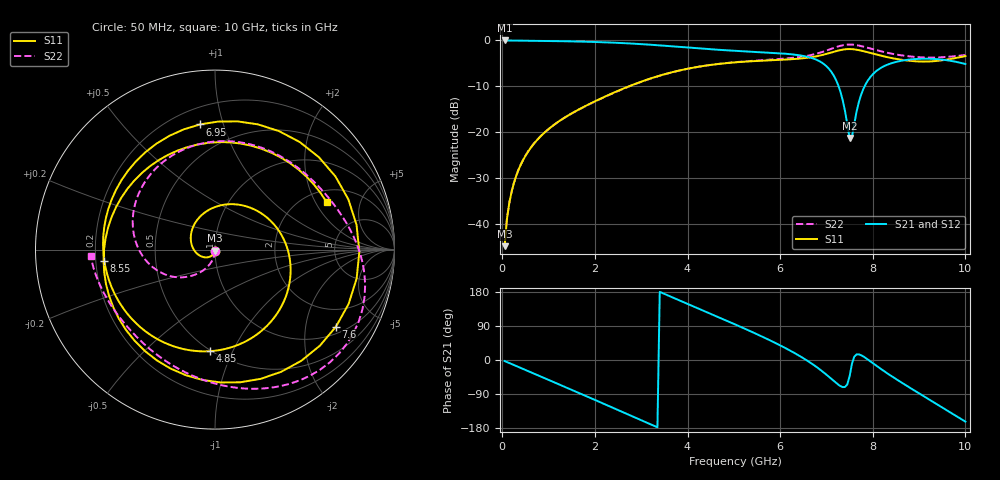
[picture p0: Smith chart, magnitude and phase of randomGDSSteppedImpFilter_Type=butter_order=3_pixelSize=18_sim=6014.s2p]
! freq	dB(S11)	phase(S11)	dB(S12)	phase(S12)
!  dB(S21)	phase(S21)	dB(S22)	phase(S22)
!S-par simulation data
#  GHz  S  DB  R 50
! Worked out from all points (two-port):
!   200 points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, 50 MHz to 10 GHz, reference 50 ohm
!   highest |S21| = 0.00 dB at 50 MHz (marker M1); lowest = -21.2 dB at 7.5 GHz (marker M2)
!   |S21| within 3 dB of the highest: start of sweep to 6.234 GHz
!   lowest |S11| = -44.8 dB at 50 MHz (marker M3), VSWR 1.01, Z = 50 - j0.576 ohm
!   |S11| at or under -10 dB: start of sweep to 2.731 GHz
!   |S22| runs from -44.7 to -0.9 dB; largest |S21 - S12| = 0
!   S11 on the Smith chart (normalised r, x): 50 MHz: 1.00, -0.01; 4.85 GHz: 0.49, -0.82; 6.95 GHz: 0.31, +0.84; 7.6 GHz: 1.25, -2.96; 8.55 GHz: 0.23, -0.05; 10 GHz: 2.55, +2.48
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0.05  -44.78 -91.7  -0.00 -2.7  -0.00 -2.7  -44.72 -88.8
0.2  -32.98 -105.6  -0.02 -10.6  -0.02 -10.6  -32.92 -94.4
0.5  -25.12 -130.8  -0.05 -26.3  -0.05 -26.3  -25.06 -102.7
1.15  -18.12 175.2  -0.14 -60.4  -0.14 -60.4  -18.12 -117.7
1.75  -14.50 124.3  -0.27 -92.1  -0.27 -92.1  -14.54 -130.2
2.65  -10.33 50.3  -0.60 -140.1  -0.60 -140.1  -10.38 -152.0
3.4  -7.65 -4.5  -1.08 179.8  -1.08 179.8  -7.68 -177.1
4.15  -5.88 -52.4  -1.66 140.2  -1.66 140.2  -5.89 152.2
4.85  -4.93 -93.1  -2.15 103.4  -2.15 103.4  -4.90 119.9
5.05  -4.75 -104.5  -2.27 92.7  -2.27 92.7  -4.71 110.1
6.1  -4.18 -170.9  -2.88 32.3  -2.88 32.3  -3.95 55.6
6.7  -3.61 131.9  -3.88 -11.0  -3.88 -11.0  -3.10 23.2
6.95  -3.07 96.8  -5.18 -33.8  -5.18 -33.8  -2.38 8.5
7.2  -2.35 51.8  -8.47 -59.7  -8.47 -59.7  -1.48 -9.2
7.5  -1.88 -11.5  -21.21 -42.9  -21.21 -42.9  -0.89 -35.5
7.6  -1.95 -32.4  -18.19 8.8  -18.19 8.8  -0.95 -44.5
7.9  -2.60 -87.5  -8.63 0.7  -8.63 0.7  -1.63 -68.3
8.35  -3.72 -150.4  -5.14 -38.1  -5.14 -38.1  -2.77 -95.8
8.55  -4.10 -174.4  -4.56 -54.0  -4.56 -54.0  -3.14 -106.2
9.3  -4.53 99.2  -4.01 -110.5  -4.01 -110.5  -3.73 -141.7
9.65  -4.09 59.8  -4.38 -136.6  -4.38 -136.6  -3.55 -158.4
10  -3.41 23.0  -5.13 -162.6  -5.13 -162.6  -3.18 -176.9
